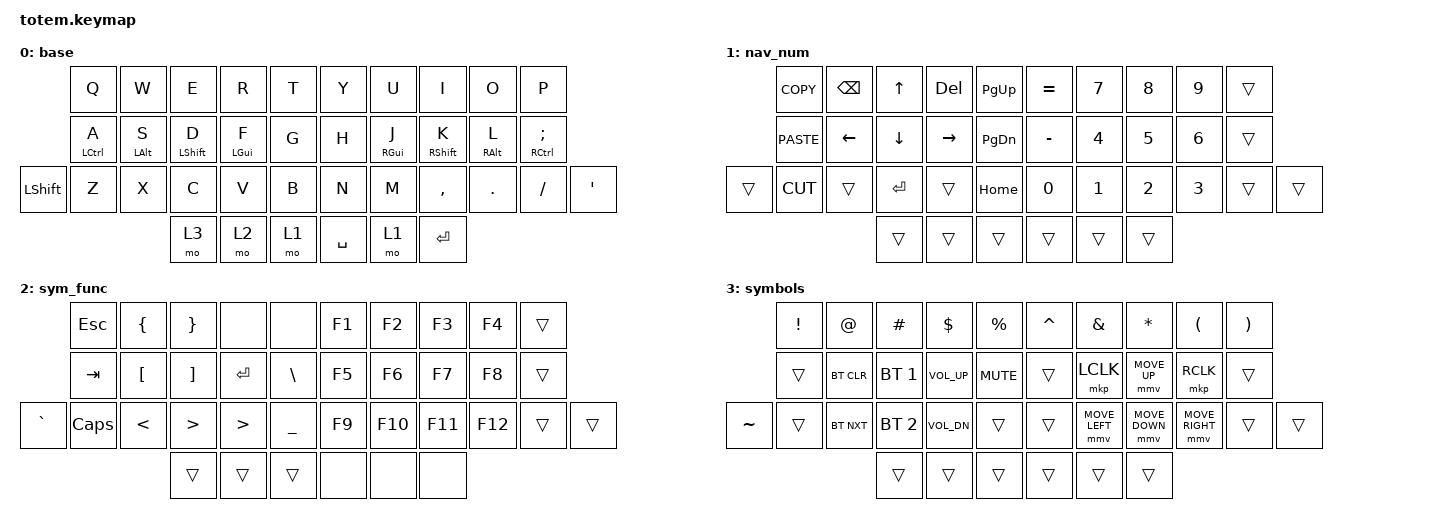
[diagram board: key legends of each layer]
//
//                                                        ▀▀▀▀▀     ▀▀▀▀▀          ▀▀█▀▀
//                                                        ▄▀▀▀▄  ▄  ▄▀▀▀▄  ▄  ▄▀▀▀▄  █  ▄▀▀▀▄
//                                                        █   █  █  █   █  █  █   █  █  █   █
//                                                         ▀▀▀   █   ▀▀▀   █   ▀▀▀   ▀   ▀▀▀
//                                                               █      ▄▄▄█▄▄▄    █   █  
//                                                               ▀      █  █  █     █▄█
//                                                             ▀▀▀▀▀    █  █  █      ▀
//                                                                      ▀  ▀  ▀
//
// ▄▄▄▄▄▄▄▄▄▄▄▄▄▄▄▄▄▄▄▄▄▄▄▄▄▄▄▄▄▄▄▄▄▄▄▄▄▄▄▄▄▄▄▄▄▄▄▄▄▄▄▄▄▄▄▄▄▄▄▄▄▄▄▄▄▄▄▄▄▄▄▄▄▄▄▄▄▄▄▄▄▄▄▄▄▄▄▄▄▄▄▄▄▄▄▄▄▄▄▄▄▄▄▄▄▄▄▄▄▄▄▄▄▄▄▄▄▄▄▄▄▄▄▄▄▄▄▄▄▄▄▄▄▄▄▄▄▄▄▄▄▄▄▄▄▄▄▄▄

#include <behaviors.dtsi>
#include <dt-bindings/zmk/bt.h>
#include <dt-bindings/zmk/keys.h>
#include <dt-bindings/zmk/pointing.h>

/ {
    behaviors {
        hrm_l: hrm_l {
            compatible = "zmk,behavior-hold-tap";
            label = "HRM_L";
            bindings = <&kp>, <&kp>;

            #binding-cells = <2>;
            tapping-term-ms = <300>;
            quick-tap-ms = <175>;
            require-prior-idle-ms = <150>;
            flavor = "balanced";
            hold-trigger-key-positions = <5 15 26 6 7 8 9 16 17 18 19 27 28 29 30 21 23 22 24 25>;
            hold-trigger-on-release;
        };

        hrm_r: hrm_r {
            compatible = "zmk,behavior-hold-tap";
            label = "HRM_R";
            bindings = <&kp>, <&kp>;

            #binding-cells = <2>;
            tapping-term-ms = <300>;
            quick-tap-ms = <175>;
            require-prior-idle-ms = <150>;
            flavor = "balanced";
            hold-trigger-key-positions = <21 23 22 24 25 0 10 11 13 3 2 12 1 4 14 20>;
            hold-trigger-on-release;
        };
    };

    keymap {
        compatible = "zmk,keymap";

        base {
            bindings = <
                &kp Q           &kp W              &kp E           &kp R              &kp T    &kp Y      &kp U               &kp I                 &kp O               &kp P
                &hrm_l LCTRL A  &hrm_l LEFT_ALT S  &hrm_l LSHFT D  &hrm_l LEFT_GUI F  &kp G    &kp H      &hrm_r RIGHT_GUI J  &hrm_r RIGHT_SHIFT K  &hrm_r RIGHT_ALT L  &hrm_r RCTRL SEMICOLON
&kp LEFT_SHIFT  &kp Z           &kp X              &kp C           &kp V              &kp B    &kp N      &kp M               &kp COMMA             &kp DOT             &kp FSLH                &kp APOS
                                                   &mo 3           &mo 2              &mo 1    &kp SPACE  &mo 1               &kp RETURN
            >;
        };

        nav_num {
            bindings = <
        &kp K_COPY   &kp BACKSPACE  &kp UP     &kp DELETE  &kp PAGE_UP      &kp EQUAL  &kp N7        &kp N8        &kp N9        &trans
        &kp K_PASTE  &kp LEFT       &kp DOWN   &kp RIGHT   &kp PAGE_DOWN    &kp MINUS  &kp NUMBER_4  &kp N5        &kp NUMBER_6  &trans
&trans  &kp K_CUT    &trans         &kp ENTER  &trans      &kp HOME         &kp N0     &kp NUMBER_1  &kp NUMBER_2  &kp NUMBER_3  &trans  &trans
                                    &trans     &trans      &trans           &trans     &trans        &trans
            >;
        };

        sym_func {
            bindings = <
           &kp ESC   &kp LEFT_BRACE  &kp RIGHT_BRACE   &none             &none             &kp F1  &kp F2   &kp F3   &kp F4   &trans
           &kp TAB   &kp LBKT        &kp RBKT          &kp ENTER         &kp BSLH          &kp F5  &kp F6   &kp F7   &kp F8   &trans
&kp GRAVE  &kp CLCK  &kp LESS_THAN   &kp GREATER_THAN  &kp GREATER_THAN  &kp UNDERSCORE    &kp F9  &kp F10  &kp F11  &kp F12  &trans  &trans
                                     &trans            &trans            &trans            &none   &none    &none
            >;
        };

        symbols {
            bindings = <
           &kp EXCL  &kp AT      &kp HASH      &kp DOLLAR       &kp PERCENT    &kp CARET  &kp AMPS        &kp ASTRK       &kp LEFT_PARENTHESIS  &kp RIGHT_PARENTHESIS
           &trans    &bt BT_CLR  &bt BT_SEL 1  &kp C_VOLUME_UP  &kp C_MUTE     &trans     &mkp LCLK       &mmv MOVE_UP    &mkp RCLK             &trans
&kp TILDE  &trans    &bt BT_NXT  &bt BT_SEL 2  &kp C_VOL_DN     &trans         &trans     &mmv MOVE_LEFT  &mmv MOVE_DOWN  &mmv MOVE_RIGHT       &trans                 &trans
                                 &trans        &trans           &trans         &trans     &trans          &trans
            >;
        };
    };

    conditional_layers {
        compatible = "zmk,conditional-layers";

        device {
            if-layers = <1 2>;
            then-layer = <3>;
        };
    };
};
